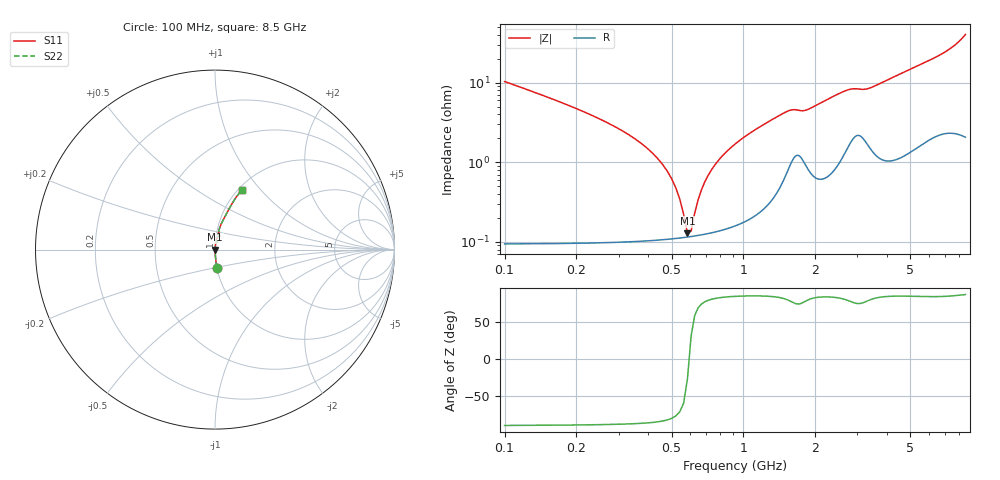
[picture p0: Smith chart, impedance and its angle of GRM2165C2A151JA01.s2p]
!Murata Part Number: GRM2165C2A151JA01
!These Parameters are Measured in Series Mode Connection
!Data Generated on Mar 30, 2021
!  o--ll--o
!Port1  Port2
!  o------o
!Operation Temp=25[degC], DC Bias Voltage=0[V]
!Freq. Start=100[MHz] Stop=9[GHz] 401[Steps]
# Hz S RI R 50
!Freq.(Hz) S11(Real) S11(Imag) S21(Real) S21(Imag) S12(Real) S12(Imag) S22(Real) S22(Imag)
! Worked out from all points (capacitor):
!   401 points, 100 MHz to 8.5 GHz, reference 50 ohm
!   read as one part in series: C = 150 pF near 142 MHz
!   lowest |Z| = 128 mohm at 583 MHz (marker M1)
!   series resonance near 592.4 MHz, so ESL is about 480 pH
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1e8  0.0114 -0.1018  0.9886 0.1018  0.9886 0.1018  0.0114 -0.1018
4.36e8  0.00117 -0.0112  0.9988 0.0112  0.9988 0.0112  0.00117 -0.0112
4.99e8  0.00112 -0.0062  0.9989 0.0062  0.9989 0.0062  0.00112 -0.0062
5.62e8  0.00113 -0.00189  0.9989 0.00189  0.9989 0.00189  0.00113 -0.00189
5.83e8  0.00115 -0.000571  0.9989 0.000571  0.9989 0.000571  0.00115 -0.000571
6.04e8  0.00116 0.000706  0.9988 -0.000706  0.9988 -0.000706  0.00116 0.000706
6.25e8  0.00118 0.00194  0.9988 -0.00194  0.9988 -0.00194  0.00118 0.00194
6.88e8  0.00127 0.00544  0.9987 -0.00544  0.9987 -0.00544  0.00127 0.00544
7.3e8  0.00135 0.00764  0.9987 -0.00764  0.9987 -0.00764  0.00135 0.00764
7.93e8  0.00148 0.0108  0.9985 -0.0108  0.9985 -0.0108  0.00148 0.0108
8.56e8  0.00165 0.0138  0.9983 -0.0138  0.9983 -0.0138  0.00165 0.0138
9.61e8  0.002 0.0185  0.998 -0.0185  0.998 -0.0185  0.002 0.0185
1.108e9  0.00269 0.0249  0.9973 -0.0249  0.9973 -0.0249  0.00269 0.0249
1.507e9  0.00863 0.0416  0.9914 -0.0416  0.9914 -0.0416  0.00863 0.0416
1.822e9  0.011 0.0431  0.989 -0.0431  0.989 -0.0431  0.011 0.0431
2.494e9  0.0142 0.0698  0.9858 -0.0698  0.9858 -0.0698  0.0142 0.0698
2.914e9  0.0263 0.0775  0.9737 -0.0775  0.9737 -0.0775  0.0263 0.0775
3.313e9  0.0226 0.079  0.9774 -0.079  0.9774 -0.079  0.0226 0.079
4.3e9  0.024 0.1148  0.976 -0.1148  0.976 -0.1148  0.024 0.1148
5.707e9  0.0455 0.165  0.9545 -0.165  0.9545 -0.165  0.0455 0.165
7.114e9  0.0776 0.2254  0.9224 -0.2254  0.9224 -0.2254  0.0776 0.2254
8.5e9  0.1517 0.334  0.8483 -0.334  0.8483 -0.334  0.1517 0.334
